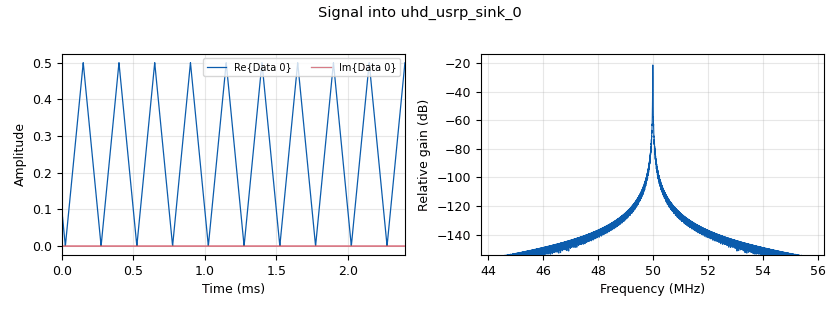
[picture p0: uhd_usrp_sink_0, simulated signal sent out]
options:
  parameters:
    author: Sebastian_Magda
    generate_options: qt_gui
    id: lab_0_USRP
    output_language: python
    title: lab_0_USRP
  states: {}

blocks:
- name: GRX
  id: variable_qtgui_range
  parameters:
    label: 'Ganancia del RX en dB '
    start: '0'
    step: '50e-2'
    stop: '31'
    value: '0'
  states: {}
- name: GTX
  id: variable_qtgui_range
  parameters:
    start: '0'
    step: '1'
    stop: '31'
    value: '0'
  states: {}
- name: K_imag
  id: variable_qtgui_range
  parameters:
    label: Habilita parte imag
    start: '0'
    step: '1'
    stop: '1'
    value: '0'
  states: {}
- name: K_real
  id: variable_qtgui_range
  parameters:
    label: Habilita parte real
    start: '0'
    step: '1'
    stop: '1'
    value: '1'
  states: {}
- name: fc
  id: variable_qtgui_range
  parameters:
    start: 50e6
    step: 1e6
    stop: 2200e6
    value: 50e6
  states: {}
- name: samp_rate
  id: variable
  parameters:
    value: 12.5e6
  states: {}
- name: analog_sig_source_x_0
  id: analog_sig_source_x
  parameters:
    amp: '0.5'
    freq: '6000'
    offset: '0'
    phase: '0'
    samp_rate: samp_rate
    type: float
    waveform: analog.GR_SQR_WAVE
  states: {}
- name: analog_sig_source_x_0_0
  id: analog_sig_source_x
  parameters:
    amp: '0.5'
    freq: '4000'
    offset: '0'
    phase: '0'
    samp_rate: samp_rate
    type: float
    waveform: analog.GR_TRI_WAVE
  states: {}
- name: blocks_float_to_complex_0
  id: blocks_float_to_complex
  parameters: {}
  states: {}
- name: blocks_multiply_const_vxx_0
  id: blocks_multiply_const_vxx
  parameters:
    const: K_real
    type: float
  states: {}
- name: blocks_multiply_const_vxx_0_0
  id: blocks_multiply_const_vxx
  parameters:
    const: K_imag
    type: float
  states: {}
- name: blocks_throttle_0
  id: blocks_throttle
  parameters:
    samples_per_second: samp_rate
    type: float
  states: {}
- name: qtgui_time_sink_x_0
  id: qtgui_time_sink_x
  parameters:
    label2: signal 2
    nconnections: '2'
    size: 1024*8
    srate: samp_rate
    type: complex
  states: {}
- name: uhd_usrp_sink_0
  id: uhd_usrp_sink
  parameters:
    ant0: '"TX/RX"'
    center_freq0: fc
    gain0: GTX
    samp_rate: samp_rate
    sync: pc_clock
    type: fc32
  states: {}
- name: uhd_usrp_source_0
  id: uhd_usrp_source
  parameters:
    ant0: '"RX2"'
    center_freq0: fc
    gain0: GRX
    samp_rate: samp_rate
    sync: pc_clock
    type: fc32
  states: {}

connections:
- [analog_sig_source_x_0, '0', blocks_multiply_const_vxx_0_0, '0']
- [analog_sig_source_x_0_0, '0', blocks_throttle_0, '0']
- [blocks_float_to_complex_0, '0', qtgui_time_sink_x_0, '0']
- [blocks_float_to_complex_0, '0', uhd_usrp_sink_0, '0']
- [blocks_multiply_const_vxx_0, '0', blocks_float_to_complex_0, '0']
- [blocks_multiply_const_vxx_0_0, '0', blocks_float_to_complex_0, '1']
- [blocks_throttle_0, '0', blocks_multiply_const_vxx_0, '0']
- [uhd_usrp_source_0, '0', qtgui_time_sink_x_0, '1']

metadata:
  file_format: 1
